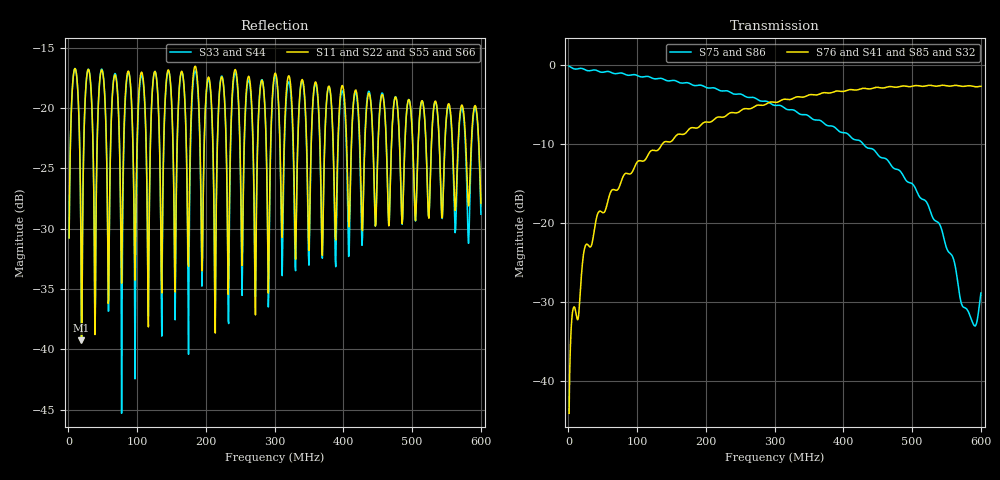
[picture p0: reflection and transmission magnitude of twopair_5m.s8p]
! synthetic reference sample twopair_5m
! measured through fixture_launch at both ends
! synthetic measurement, noise -85.0 dB
# Hz S RI R 50
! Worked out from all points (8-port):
!   801 points, 1 MHz to 600 MHz, reference 50 ohm
!   strongest paths, dB at 1 MHz, 150.8 MHz, 300.5 MHz, 450.2 MHz, 600 MHz:
!     S76: -44.1, -9.6, -4.7, -2.8, -2.7
!     S41: -44.0, -9.6, -4.7, -2.8, -2.7
!     S85: -44.0, -9.6, -4.7, -2.8, -2.7
!     S32: -44.0, -9.6, -4.7, -2.8, -2.7
!     S75: -0.1, -1.9, -5.1, -11.4, -28.8
!     S86: -0.1, -1.9, -5.1, -11.4, -28.8
!   lowest |S11| = -39.3 dB at 18.97 MHz (marker M1), VSWR 1.02, Z = 50.7 - j0.867 ohm
!   |S11| at or under -10 dB: start of sweep to end of sweep
